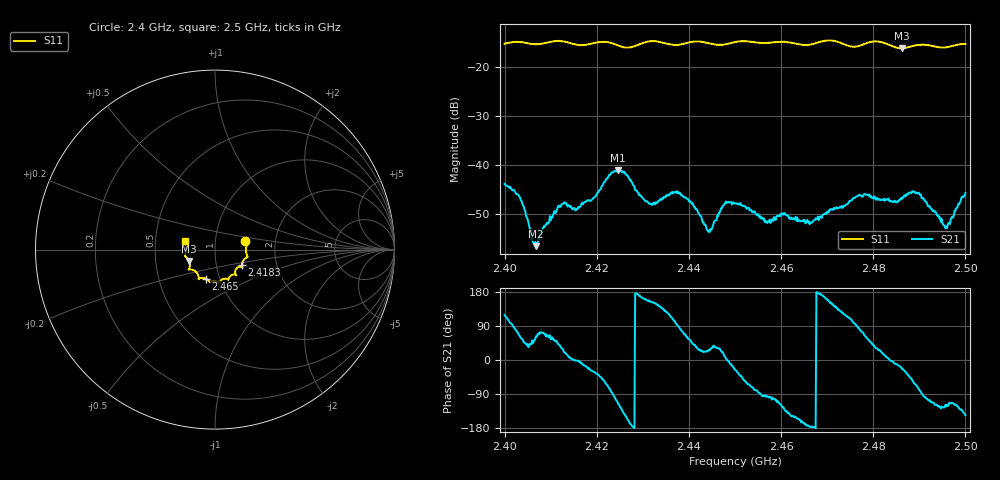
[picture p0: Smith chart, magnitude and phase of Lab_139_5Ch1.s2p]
# Hz S RI R 50
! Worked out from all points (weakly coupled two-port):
!   601 points, 2.4 GHz to 2.5 GHz, reference 50 ohm
!   highest |S21| = -41.09 dB at 2.4247 GHz (marker M1); lowest = -56.7 dB at 2.4068 GHz (marker M2)
!   lowest |S11| = -16.1 dB at 2.4862 GHz (marker M3), VSWR 1.37, Z = 37.2 - j4.79 ohm
!   |S11| at or under -10 dB: start of sweep to end of sweep
!   S12 and S22 are empty: the file has one direction only
!   S11 on the Smith chart (normalised r, x): 2.4 GHz: 1.40, +0.13; 2.4183 GHz: 1.33, -0.24; 2.465 GHz: 0.86, -0.28; 2.5 GHz: 0.71, +0.07
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2.4e9  0.1687 0.0464  -0.00304 0.00564  0 0  0 0
2.403333e9  0.1794 0.0315  0.00216 0.00413  0 0  0 0
2.406833e9  0.1724 -0.001  0.000666 0.00131  0 0  0 0
2.412e9  0.1821 -0.0413  0.00294 0.00235  0 0  0 0
2.416667e9  0.1545 -0.0678  0.00394 -0.00066  0 0  0 0
2.418333e9  0.1496 -0.0868  0.00405 -0.00161  0 0  0 0
2.424667e9  0.1376 -0.0951  -0.00386 -0.00793  0 0  0 0
2.430833e9  0.116 -0.1413  -0.00393 0.00164  0 0  0 0
2.433333e9  0.1179 -0.141  -0.00348 0.00246  0 0  0 0
2.437833e9  0.084 -0.1483  0.000214 0.00513  0 0  0 0
2.444333e9  0.0665 -0.1635  0.00189 0.00096  0 0  0 0
2.447833e9  0.037 -0.168  0.00397 0.000627  0 0  0 0
2.45e9  0.0257 -0.1799  0.00363 -0.00172  0 0  0 0
2.456833e9  -0.0079 -0.1775  -0.000325 -0.00264  0 0  0 0
2.465e9  -0.0524 -0.1613  -0.00268 -0.000659  0 0  0 0
2.466667e9  -0.0711 -0.1571  -0.00256 -0.000217  0 0  0 0
2.476833e9  -0.1194 -0.1143  0.000553 0.00488  0 0  0 0
2.483333e9  -0.1411 -0.0968  0.00451 0.00031  0 0  0 0
2.486167e9  -0.1437 -0.0628  0.00415 -0.00162  0 0  0 0
2.489833e9  -0.1659 -0.0373  0.00127 -0.00505  0 0  0 0
2.495667e9  -0.1601 0.012  -0.00107 -0.00196  0 0  0 0
2.5e9  -0.1672 0.047  -0.00425 -0.00289  0 0  0 0
